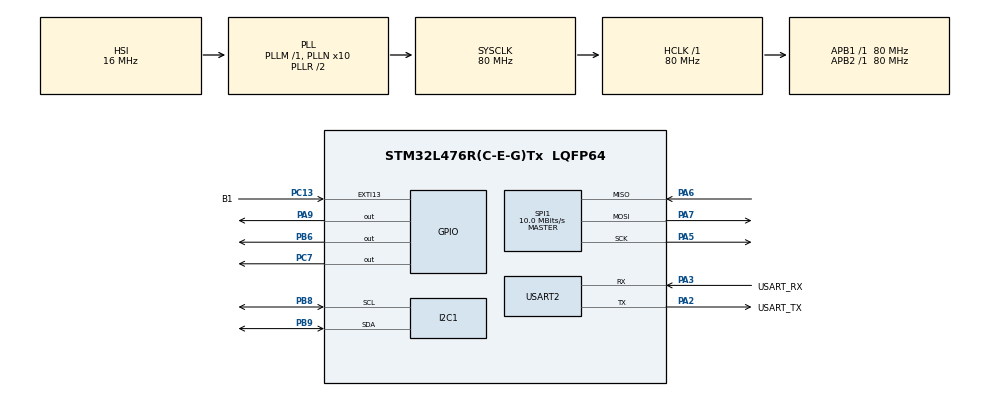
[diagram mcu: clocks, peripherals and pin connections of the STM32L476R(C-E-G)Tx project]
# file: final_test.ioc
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I2C1.Timing=0x10D19CE4
Mcu.Family=STM32L4
Mcu.Name=STM32L476R(C-E-G)Tx
Mcu.Package=LQFP64
NVIC.EXTI15_10_IRQn=true\:1\:0\:true\:false\:true\:true\:true\:true
NVIC.PriorityGroup=NVIC_PRIORITYGROUP_4
NVIC.USART2_IRQn=true\:2\:0\:true\:false\:true\:true\:true\:true
PA13\ (JTMS-SWDIO).GPIO_Label=TMS
PA13\ (JTMS-SWDIO).Mode=Serial_Wire
PA13\ (JTMS-SWDIO).Signal=SYS_JTMS-SWDIO
PA14\ (JTCK-SWCLK).GPIO_Label=TCK
PA14\ (JTCK-SWCLK).Mode=Serial_Wire
PA14\ (JTCK-SWCLK).Signal=SYS_JTCK-SWCLK
PA2.GPIO_Label=USART_TX
PA2.GPIO_Mode=GPIO_MODE_AF_PP
PA2.GPIO_PuPd=GPIO_NOPULL
PA2.GPIO_Speed=GPIO_SPEED_FREQ_VERY_HIGH
PA2.Mode=Asynchronous
PA2.Signal=USART2_TX
PA3.GPIO_Label=USART_RX
PA3.GPIO_Mode=GPIO_MODE_AF_PP
PA3.GPIO_PuPd=GPIO_NOPULL
PA3.GPIO_Speed=GPIO_SPEED_FREQ_VERY_HIGH
PA3.Mode=Asynchronous
PA3.Signal=USART2_RX
PA5.Mode=Full_Duplex_Master
PA5.Signal=SPI1_SCK
PA6.Mode=Full_Duplex_Master
PA6.Signal=SPI1_MISO
PA7.Mode=Full_Duplex_Master
PA7.Signal=SPI1_MOSI
PA9.Signal=GPIO_Output
PB3\ (JTDO-TRACESWO).GPIO_Label=SWO
PB3\ (JTDO-TRACESWO).Signal=SYS_JTDO-SWO
PB6.Signal=GPIO_Output
PB8.Mode=I2C
PB8.Signal=I2C1_SCL
PB9.Mode=I2C
PB9.Signal=I2C1_SDA
PC13.GPIO_Label=B1
PC13.GPIO_ModeDefaultEXTI=GPIO_MODE_IT_FALLING
PC13.GPIO_PuPd=GPIO_PULLUP
PC13.Signal=GPXTI13
PC14-OSC32_IN\ (PC14).Mode=LSE-External-Oscillator
PC14-OSC32_IN\ (PC14).Signal=RCC_OSC32_IN
PC15-OSC32_OUT\ (PC15).Mode=LSE-External-Oscillator
PC15-OSC32_OUT\ (PC15).Signal=RCC_OSC32_OUT
PC7.Signal=GPIO_Output
PH0-OSC_IN\ (PH0).Signal=RCC_OSC_IN
PH1-OSC_OUT\ (PH1).Signal=RCC_OSC_OUT
ProjectManager.HeapSize=0x200
ProjectManager.StackSize=0x400
ProjectManager.TargetToolchain=STM32CubeIDE
RCC.ADCFreq_Value=64000000
RCC.AHBFreq_Value=80000000
RCC.APB1Freq_Value=80000000
RCC.APB1TimFreq_Value=80000000
RCC.APB2Freq_Value=80000000
RCC.APB2TimFreq_Value=80000000
RCC.CortexFreq_Value=80000000
RCC.HCLKFreq_Value=80000000
RCC.HSE_VALUE=8000000
RCC.HSI_VALUE=16000000
RCC.MSI_VALUE=4000000
RCC.PLLN=10
RCC.PLLSourceVirtual=RCC_PLLSOURCE_HSI
RCC.PREFETCH_ENABLE=1
RCC.SYSCLKFreq_VALUE=80000000
RCC.SYSCLKSource=RCC_SYSCLKSOURCE_PLLCLK
RCC.USBFreq_Value=64000000
RCC.VCOOutputFreq_Value=160000000
SPI1.BaudRatePrescaler=SPI_BAUDRATEPRESCALER_8
SPI1.CalculateBaudRate=10.0 MBits/s
SPI1.DataSize=SPI_DATASIZE_8BIT
SPI1.Direction=SPI_DIRECTION_2LINES
SPI1.Mode=SPI_MODE_MASTER
SPI1.VirtualType=VM_MASTER
USART2.VirtualMode-Asynchronous=VM_ASYNC
board=NUCLEO-L476RG

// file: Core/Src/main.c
/* USER CODE BEGIN Header */
/**
  ******************************************************************************
  * @file           : main.c
  * @brief          : Main program body
  ******************************************************************************
  * @attention
  *
  * Copyright (c) 2024 STMicroelectronics.
  * All rights reserved.
  *
  * This software is licensed under terms that can be found in the LICENSE file
  * in the root directory of this software component.
  * If no LICENSE file comes with this software, it is provided AS-IS.
  *
  ******************************************************************************
  */
/* USER CODE END Header */
#include "main.h"

/* USER CODE BEGIN Includes */
#include "ssd1306.h"
#include "ssd1306_fonts.h"
#include "stdio.h"
#include "stdlib.h"
#include "stdbool.h"
#include "string.h"
#include "symbols.h"
#include <ctype.h>
/* USER CODE END Includes */

/* USER CODE BEGIN PTD */
typedef enum {
    STATE_MENU,
    STATE_GAME,
    STATE_AUTHORS,
    STATE_DESC,
    STATE_HIGHSCORES
} SystemState;
/* USER CODE END PTD */

/* USER CODE BEGIN PD */
#define FLASH_ACCOUNTS_PAGE      511
#define FLASH_ACCOUNTS_ADDR      0x080FF800U
#define FLASH_ACCOUNTS_NBPAGES      1
#define CMD_BUF_SIZE            40
#define MAX_ACCOUNTS             3
#define ACCOUNT_SIZE             sizeof(account_t)
/* USER CODE END PD */

I2C_HandleTypeDef hi2c1;

SPI_HandleTypeDef hspi1;

UART_HandleTypeDef huart2;

/* USER CODE BEGIN PV */
typedef struct {
    int32_t credit;           // 4 bytes
    char    username[16];     // 16 bytes
    uint32_t crc;             // optional safety
} account_t;

account_t accounts[MAX_ACCOUNTS];
int active_user = -1;

//BAZA DANYCH (Wspólna)
volatile int credits = 100;
char user_name[16] = "";

//ZMIENNE GRY
int symbols_credits[7] = {1000,500,20,300,250,20,100};
int reel_state[3] = {0, 0, 0};
volatile uint8_t game_active = 0;
uint32_t start_time = 0;
uint32_t duration = 0;
volatile uint8_t no_money = 0;
int speed = 4;

//ZMIENNE SYSTEMOWE
volatile SystemState currentState = STATE_MENU;
volatile int menu_position = 0;

//ZMIENNE TERMINALA
uint8_t rx_data[1];
char cmd_buffer[CMD_BUF_SIZE + 1];
volatile uint8_t cmd_index = 0;
/* USER CODE END PV */

void SystemClock_Config(void);
static void MX_GPIO_Init(void);
static void MX_USART2_UART_Init(void);
static void MX_I2C1_Init(void);
static void MX_SPI1_Init(void);
/* USER CODE BEGIN PFP */
bool CheckCommand(const char* cmd);
void DisplayTerminalPrompt(void);
/* USER CODE END PFP */

/* USER CODE BEGIN 0 */
int __io_putchar(int ch) {
    HAL_UART_Transmit(&huart2, (uint8_t *)&ch, 1, HAL_MAX_DELAY);
    return ch;
}

typedef struct {
    int current_symbol; // Indeks symbolu, który jest teraz na środku (0-6)
    int next_symbol;    // Indeks symbolu, który wjeżdża z góry (0-6)
    int pixel_offset;   // Przesunięcie w pikselach (od 0 do 32)
    int x_pos;          // Pozycja X tego bębna na ekranie (8, 48 lub 88)
} reels;

// Inicjalizacja trzech bębnów
reels reel[3] = {
    {0, 1, 0, 8},  // Bęben 1
    {0, 1, 0, 48}, // Bęben 2
    {0, 1, 0, 88}  // Bęben 3
};

//Obsługa pamięci flash
bool Flash_SaveAccounts(void)
{
    HAL_FLASH_Unlock();

    FLASH_EraseInitTypeDef erase = {
        .TypeErase = FLASH_TYPEERASE_PAGES,
        .Banks     = FLASH_BANK_2,
        .Page      = FLASH_ACCOUNTS_PAGE,
        .NbPages   = 1
    };

    uint32_t error;
    if (HAL_FLASHEx_Erase(&erase, &error) != HAL_OK)
        return false;

    uint64_t *src = (uint64_t *)accounts;
    uint32_t addr = FLASH_ACCOUNTS_ADDR;

    for (int i = 0; i < (sizeof(accounts) / 8); i++)
    {
        if (HAL_FLASH_Program(FLASH_TYPEPROGRAM_DOUBLEWORD, addr, src[i]) != HAL_OK)
            return false;

        addr += 8;
    }

    HAL_FLASH_Lock();
    return true;
}

bool Account_Create(const char *name)
{
    for (int i = 0; i < MAX_ACCOUNTS; i++)
    {
        if (accounts[i].username[0] == '\0')
        {
            strncpy(accounts[i].username, name, 15);
            accounts[i].credit = 100;
            return Flash_SaveAccounts();
        }
    }
    return false; // full
}

int Account_Login(const char *name)
{
    for (int i = 0; i < MAX_ACCOUNTS; i++)
    {
        if (strcmp(accounts[i].username, name) == 0)
            return i;
    }
    return -1;
}

static void SaveActiveUser(void)
{
    if (active_user >= 0)
    {
        accounts[active_user].credit = credits;
        Flash_SaveAccounts();
    }
}

static bool IsLoggedIn(void)
{
    if (active_user < 0)
    {
        printf("Not logged in. Use: login <name>\r\n");
        return false;
    }
    return true;
}

void Flash_LoadAccounts(void)
{
    const account_t *flash = (const account_t *)FLASH_ACCOUNTS_ADDR;
    for (int i = 0; i < MAX_ACCOUNTS; i++)
    {
    	if ((uint32_t)flash[i].credit == 0xFFFFFFFF)
    	{
    	    accounts[i].credit = 0;
    	    accounts[i].username[0] = '\0';
    	}
    	else
    	{
    	    accounts[i] = flash[i];
    	}
    }
}

void DisplayTerminalPrompt(void)
{
    printf("𝓬𝓪𝓼𝓲𝓷𝓸@𝓒𝓪𝓼𝓲𝓷𝓸𝓞𝓢:~$ ");
    fflush(stdout);
}

//Parser komend
bool CheckCommand(const char* cmd)
{
    /* ---------------- HELP ---------------- */
    if(strcmp(cmd, "help") == 0)
    {
        printf(
            "Commands:\r\n"
            " help\r\n"
            " users               - list accounts\r\n"
            " create <name>       - create account\r\n"
            " login <name>        - login\r\n"
            " logout              - logout\r\n"
            " whoami              - show user\r\n"
            " balance             - show credits\r\n"
            " deposit <num>       - add credits\r\n"
            " withdraw <num>      - remove credits\r\n"
        );
        return true;
    }
    /* ---------------- USERS LIST ---------------- */
    if(strcmp(cmd, "users") == 0)
    {
        for(uint32_t i = 0; i < MAX_ACCOUNTS; i++)
        {
            if(accounts[i].username[0])
                printf("%ld. %s (%ld)\r\n", i+1, accounts[i].username, accounts[i].credit);
        }
        return true;
    }
    /* ---------------- CREATE ---------------- */
    if(strncmp(cmd, "create ", 7) == 0)
    {
        const char *name = cmd + 7;
        if(strlen(name) == 0 || strlen(name) >= 16)
        {
            printf("Invalid username\r\n");
            return true;
        }
        if(Account_Create(name))
            printf("Account created: %s\r\n", name);
        else
            printf("Account list full\r\n");

        return true;
    }
    /* ---------------- LOGIN ---------------- */
    if(strncmp(cmd, "login ", 6) == 0)
    {
        const char *name = cmd + 6;
        int idx = Account_Login(name);

        if(idx < 0)
        {
            printf("User not found\r\n");
            return true;
        }

        active_user = idx;
        credits = accounts[idx].credit;
        strncpy(user_name, accounts[idx].username, 16);

        printf("Logged in as %s\r\n", user_name);
        return true;
    }

    /* ---------------- LOGOUT ---------------- */
    if(strcmp(cmd, "logout") == 0)
    {
        if(IsLoggedIn())
        {
            SaveActiveUser();
            printf("Logged out: %s\r\n", user_name);
            active_user = -1;
            credits = 0;
            strcpy(user_name, "guest");
        }
        return true;
    }

    /* ---------------- WHOAMI ---------------- */
    if(strcmp(cmd, "whoami") == 0)
    {
        if(active_user >= 0)
            printf("%s\r\n", user_name);
        else
            printf("guest\r\n");
        return true;
    }

    /* ---------------- BALANCE ---------------- */
    if(strcmp(cmd, "balance") == 0)
    {
        if(IsLoggedIn())
            printf("Balance: %d\r\n", credits);
        return true;
    }

    /* ---------------- DEPOSIT ---------------- */
    if(strncmp(cmd, "deposit ", 8) == 0)
    {
        if(!IsLoggedIn()) return true;

        int amount = atoi(cmd + 8);
        if(amount <= 0)
        {
            printf("Invalid amount\r\n");
            return true;
        }
        credits += amount;
        printf("Deposited %d\r\n", amount);
        SaveActiveUser();
        return true;
    }

    /* ---------------- WITHDRAW ---------------- */
    if(strncmp(cmd, "withdraw ", 9) == 0)
    {
        if(!IsLoggedIn()) return true;

        int amount = atoi(cmd + 9);
        if(amount <= 0 || amount > credits)
        {
            printf("Invalid amount\r\n");
            return true;
        }

        credits -= amount;
        printf("Withdrawn %d\r\n", amount);
        SaveActiveUser();
        return true;
    }

    /* ---------------- UNKNOWN ---------------- */
    printf("Command not found: '%s'\r\n", cmd);
    return false;
}

// Funkcja do zaznaczenia wybranej opcji w menu
void DrawMenuLine(int y, int index, char* text){
	if(menu_position == index){
		ssd1306_FillRectangle(0, 1, 128, 10, White);
		ssd1306_SetCursor(20, 2);
		ssd1306_WriteString("LITTLE LAS VEGAS", Font_6x8, Black);

		ssd1306_SetCursor(10, y);

		ssd1306_WriteString(text, Font_6x8, Black);
	}else{
		ssd1306_SetCursor(10, y);

		ssd1306_WriteString(text, Font_6x8, White);
	}
}

//Obsługa przerwań
void HAL_GPIO_EXTI_Callback(uint16_t GPIO_Pin){
    if(GPIO_Pin == B1_Pin)
    {
        static uint32_t last_click = 0;

        static uint8_t rng_initialized = 0;

        if(HAL_GetTick() - last_click < 500) return;
        last_click = HAL_GetTick();

        if(rng_initialized == 0) {
            srand(HAL_GetTick());
            rng_initialized = 1;
        }

        if(currentState == STATE_GAME && game_active == 0){
            if(credits > 0){
                credits--;

                if(active_user >= 0) {
                	SaveActiveUser();
                }

                no_money = 0;
                game_active = 1;

                for(int i=0; i<3; i++){
                    reel_state[i] = 1;
                }

                start_time = HAL_GetTick();

                duration = (rand() % 4000) + 3000;
            } else {
                no_money = 1;
            }
        }
    }
}

static uint8_t esc_ignore = 0;

//PRZERWANIE OD UART (Sterowanie)
void HAL_UART_RxCpltCallback(UART_HandleTypeDef *huart)
{
    if (huart->Instance == USART2)
    {
        char c = (char)rx_data[0];

        if (esc_ignore) {
            if (c >= 'A' && c <= 'Z') esc_ignore = 0;
            HAL_UART_Receive_IT(&huart2, rx_data, 1);
            return;
        }
        if (c == 0x1B) {
            esc_ignore = 1;
            HAL_UART_Receive_IT(&huart2, rx_data, 1);
            return;
        }

        uint8_t is_nav_command = 0;

        // 1. STEROWANIE MENU
        if (cmd_index == 0) {
            if (c == 'q') {
                currentState = STATE_MENU;
                game_active = 0;
                is_nav_command = 1;
            }
            else if (currentState == STATE_MENU) {
                if (c == 'a') {
                    menu_position--;
                    if(menu_position < 0) menu_position = 3;
                    is_nav_command = 1;
                }
                else if (c == 'd') {
                    menu_position++;
                    if(menu_position > 3) menu_position = 0;
                    is_nav_command = 1;
                }
                else if (c == 'e' || c == '\r') {
                    switch(menu_position) {
                        case 0: currentState = STATE_GAME; break;
                        case 1: currentState = STATE_AUTHORS; break;
                        case 2: currentState = STATE_DESC; break;
                        case 3: currentState = STATE_HIGHSCORES; break;
                    }
                    is_nav_command = 1;
                }
            }
        }

        // 2. Terminal
        if (is_nav_command == 0)
        {
            // ENTER
            if (c == '\r' || c == '\n') {
                HAL_UART_Transmit(&huart2, (uint8_t*)"\r\n", 2, 10);

                cmd_buffer[cmd_index] = '\0';
                if (cmd_index > 0) {
                    CheckCommand(cmd_buffer);
                    DisplayTerminalPrompt();
                } else {
                    DisplayTerminalPrompt();
                }
                cmd_index = 0;
            }
            else if (c == 0x08 || c == 127) {
                if (cmd_index > 0) {
                    cmd_index--;
                    uint8_t erase_seq[] = {0x08, ' ', 0x08};
                    HAL_UART_Transmit(&huart2, erase_seq, 3, 10);
                }
            }
            else {
                if (cmd_index < CMD_BUF_SIZE) {
                    cmd_buffer[cmd_index++] = c;
                    HAL_UART_Transmit(&huart2, (uint8_t*)&c, 1, 10);
                }
            }
        }
        HAL_UART_Receive_IT(&huart2, rx_data, 1);
    }
}

// Funkcja do odwracania kolorów (Inwersja)
void SetDisplayInverse(uint8_t inverse) {
    if (inverse) {
        ssd1306_WriteCommand(0xA7);
    } else {
        ssd1306_WriteCommand(0xA6);
    }
}
/* USER CODE END 0 */

int main(void)
{

  /* MCU Configuration--------------------------------------------------------*/

  /* Reset of all peripherals, Initializes the Flash interface and the Systick. */
  HAL_Init();

  /* Configure the system clock */
  SystemClock_Config();

  /* Initialize all configured peripherals */
  MX_GPIO_Init();
  MX_USART2_UART_Init();
  MX_I2C1_Init();
  MX_SPI1_Init();
  /* USER CODE BEGIN 2 */
  setvbuf(stdout, NULL, _IONBF, 0);

    char buffor[40];

    ssd1306_Init();
    ssd1306_Fill(Black);
    ssd1306_UpdateScreen();

    // Wczytanie stanu konta
    Flash_LoadAccounts();
    credits = 0;
    strcpy(user_name, "guest");

    HAL_UART_Transmit(&huart2, (uint8_t*)"\r\nSYSTEM START\r\n", 14, 100);

    // POWITANIE W TERMINALU
    printf("\033[2J\033[H"); // Clear screen
    printf("                     CasinoOS Terminal v1.0.7 \r\n");
    printf("            In luck we trust, in probability we pray \r\n");
    printf("------------------------------------------------------- \r\n");
    printf("System status  : ONLINE \r\n");
    printf("RNG engine     : SEEDED \r\n");
    printf("Credit balance : %06d \r\n", credits);
    printf("User access    : %s \r\n", user_name);
    printf("------------------------------------------------------- \r\n");
    DisplayTerminalPrompt();

    HAL_UART_Receive_IT(&huart2, rx_data, 1);

  /* USER CODE END 2 */

  /* Infinite loop */
  while (1)
  {
	  ssd1306_Fill(Black);

	  	  	  	        switch (currentState)
	  	  	  	        {

	  	  	  	            case STATE_MENU:
	  	  	  	                DrawMenuLine(16,0,"1. Game");
	  	  	  	                DrawMenuLine(27,1,"2. Authors");
	  	  	  	                DrawMenuLine(38, 2,"3. About game");
	  	  	  	                DrawMenuLine(49,3,"4. Accounts");

	  	  	  	                ssd1306_DrawRectangle(0, 13, 127, 63, White);
	  	  	  	                break;

	  	  	  	            case STATE_GAME:
	  	  	  	                ssd1306_SetCursor(0, 0);

	  	  	  	                if(credits > 99999){
	  	  	  	                	sprintf(buffor, "Credits:%dk", credits / 1000);
	  	  	  	          	  	} else {
	  	  	  	          	  		sprintf(buffor, "Credits:%d", credits);
	  	  	  	          	  	}

	  	  	  	                ssd1306_WriteString(buffor, Font_6x8, White);

	  	  	  	                ssd1306_SetCursor(80, 0);
	  	  	  	                ssd1306_WriteString("[q]Exit", Font_6x8, White);

	  	  	  	                for(int x=0; x < 128; x++){ ssd1306_DrawPixel(x, 15, White); }
	  	  	  	                for(int x=0; x < 128; x++){ ssd1306_DrawPixel(x, 48, White); }
	  	  	  	                ssd1306_SetCursor(0, 27);   ssd1306_WriteString(">", Font_7x10, White);
	  	  	  	                ssd1306_SetCursor(120, 27); ssd1306_WriteString("<", Font_7x10, White);

	  	  	  	                for(int i=0; i < 3; i++){
	  	  	  	                    if(reel_state[i] == 1){
	  	  	  	                        uint32_t extra_delay = i * 1000;
	  	  	  	                        if(HAL_GetTick() - start_time > (duration + extra_delay)){
	  	  	  	                            if(reel[i].pixel_offset == 0){
	  	  	  	                                reel_state[i] = 0;
	  	  	  	                            }
	  	  	  	                        }
	  	  	  	                        if(reel_state[i] == 1) {
	  	  	  	                            reel[i].pixel_offset += speed;
	  	  	  	                            if(reel[i].pixel_offset >= 32){
	  	  	  	                                reel[i].pixel_offset = 0;
	  	  	  	                                reel[i].current_symbol = reel[i].next_symbol;
	  	  	  	                                reel[i].next_symbol = rand() % 7;
	  	  	  	                            }
	  	  	  	                        }
	  	  	  	                    }
	  	  	  	                    int current_symbol_y = reel[i].pixel_offset + 16;
	  	  	  	                    int next_symbol_y = current_symbol_y - 32;
	  	  	  	                    ssd1306_DrawBitmap(reel[i].x_pos, current_symbol_y, epd_bitmap_allArray[reel[i].current_symbol], 32, 32, White);
	  	  	  	                    ssd1306_DrawBitmap(reel[i].x_pos, next_symbol_y, epd_bitmap_allArray[reel[i].next_symbol], 32, 32, White);
	  	  	  	                }

	  	  	  	                if(game_active == 1 && reel_state[0] == 0 && reel_state[1] == 0 && reel_state[2] == 0 && no_money == 0){
	  	  	  	                    int s0 = reel[0].current_symbol;
	  	  	  	                    int s1 = reel[1].current_symbol;
	  	  	  	                    int s2 = reel[2].current_symbol;
	  	  	  	                    int win = 0;

	  	  	  	                    if(s0 == s1 && s1 == s2) win = symbols_credits[s0];
	  	  	  	                    else if(s0 == s1) win = (symbols_credits[s0])/3;
	  	  	  	                    else if(s1 == s2) win = (symbols_credits[s1])/3;
	  	  	  	                    else if(s0 == s2) win = (symbols_credits[s0])/3;

	  	  	  	                    if(win > 0){
	  	  	  	                    	credits += win;
	  	  	  	                    	if(active_user >= 0) {
	  	  	  	                    		SaveActiveUser();
	  	  	  	                  	  	}

	  	  	  	                        for(int k=0; k<3; k++){
	  	  	  	                            SetDisplayInverse(1);
	  	  	  	                            HAL_Delay(100);
	  	  	  	                            SetDisplayInverse(0);
	  	  	  	                            HAL_Delay(100);
	  	  	  	                        }

	  	  	  	                        ssd1306_FillRectangle(14, 15, 100, 40, White);

	  	  	  	                        ssd1306_DrawRectangle(16, 17, 96, 36, Black);

	  	  	  	                        ssd1306_SetCursor(38, 20);
	  	  	  	                        ssd1306_WriteString("BIG WIN!", Font_6x8, Black);

	  	  	  	                        sprintf(buffor, "%d", win);

	  	  	  	                        int text_width = (win > 999) ? 44 : (win > 99) ? 33 : 22;
	  	  	  	                        int x_pos = 64 - (text_width / 2);

	  	  	  	                        ssd1306_SetCursor(x_pos, 32);
	  	  	  	                        ssd1306_WriteString(buffor, Font_11x18, Black);

	  	  	  	                        ssd1306_UpdateScreen();
	  	  	  	                        HAL_Delay(2500);
	  	  	  	                    } else {
	  	  	  	                        HAL_Delay(500);
	  	  	  	                    }
	  	  	  	                    game_active = 0;
	  	  	  	                }
	  	  	  	                else if(no_money == 1){
	  	  	  	                    ssd1306_FillRectangle(10, 18, 108, 32, White);
	  	  	  	                    ssd1306_SetCursor(25, 20);
	  	  	  	                    ssd1306_WriteString("OUT OF MONEY!", Font_7x10, Black);
	  	  	  	                    ssd1306_SetCursor(20, 35);
	  	  	  	                    ssd1306_WriteString("Deposit money :)", Font_6x8, Black);
	  	  	  	                    ssd1306_UpdateScreen();
	  	  	  	                    HAL_Delay(2500);
	  	  	  	                    no_money = 0;
	  	  	  	                }
	  	  	  	                break;

	  	  	  	            case STATE_AUTHORS:
	  	  	  	                ssd1306_SetCursor(0, 0); ssd1306_WriteString("Authors:", Font_7x10, White);
	  	  	  	                ssd1306_SetCursor(0, 20); ssd1306_WriteString("- Jakub Matusiewicz", Font_6x8, White);
	  	  	  	                ssd1306_SetCursor(0, 30); ssd1306_WriteString("- Mateusz Treda", Font_6x8, White);
	  	  	  	                ssd1306_SetCursor(2, 55);
	  	  	  	          	  	ssd1306_WriteString("[q] Back to menu", Font_6x8, White);
	  	  	  	                break;

	  	  	  	            case STATE_DESC:
	  	  	  	      				ssd1306_FillRectangle(0, 0, 128, 12, White);
	  	  	  	      				ssd1306_SetCursor(35, 2);
	  	  	  	      				ssd1306_WriteString("GAME RULES:", Font_6x8, Black);

	  	  	  	      				ssd1306_SetCursor(2, 16);
	  	  	  	      				ssd1306_WriteString("Press BLUE to SPIN", Font_6x8, White);

	  	  	  	      				ssd1306_SetCursor(2, 30);
	  	  	  	      				ssd1306_WriteString("3 symbols = MAX WIN", Font_6x8, White);

	  	  	  	      				ssd1306_SetCursor(2, 42);
	  	  	  	      				ssd1306_WriteString("2 symbols = 33% WIN", Font_6x8, White);

	  	  	  	      				ssd1306_FillRectangle(80, 54, 128, 64, Black);
	  	  	  	      				ssd1306_SetCursor(2, 55);
	  	  	  	      				ssd1306_WriteString("[q] Back to menu", Font_6x8, White);
	  	  	  	      				break;

	  	  	  	            case STATE_HIGHSCORES:
	  	  	  	      	  	  	  	ssd1306_FillRectangle(0, 0, 128, 12, White);
	  	  	  	      	  	  	  	ssd1306_SetCursor(40, 2);
	  	  	  	      	  	  	  	ssd1306_WriteString("ACCOUNTS", Font_6x8, Black);

	  	  	  	      	  	  	  	int y_pos = 20;

	  	  	  	      	  	  	  	for(int i = 0; i < MAX_ACCOUNTS; i++) {
	  	  	  	      	  	  	  	    if(accounts[i].username[0] != '\0') {
	  	  	  	      	  	  	  	       sprintf(buffor, "%d. %s - %ld", i+1, accounts[i].username, accounts[i].credit);

	  	  	  	      	  	  	  	       ssd1306_SetCursor(0, y_pos);
	  	  	  	      	  	  	  	       ssd1306_WriteString(buffor, Font_6x8, White);

	  	  	  	      	  	  	  	       y_pos += 10;
	  	  	  	      	  	  	  	       }
	  	  	  	      	  	  	  	    else {
	  	  	  	      	  	  	  	        sprintf(buffor, "%d. [Empty]", i+1);
	  	  	  	      	  	  	  	        ssd1306_SetCursor(0, y_pos);
	  	  	  	      	  	  	  	        ssd1306_WriteString(buffor, Font_6x8, White);
	  	  	  	      	  	  	  	        y_pos += 10;
	  	  	  	      	  	  	  	       }
	  	  	  	      	  	  	  	 }
	  	  	  	      	  	  	  	 ssd1306_FillRectangle(80, 54, 128, 64, Black);
	  	  	  	      	  	  	  	 ssd1306_SetCursor(2, 55);
	  	  	  	      	  		  	 ssd1306_WriteString("[q] Back to menu", Font_6x8, White);
	  	  	  	      	  	 break;
	  	  	  	        }

	  	  	  	        ssd1306_UpdateScreen();
  }
}

void SystemClock_Config(void)
{
  RCC_OscInitTypeDef RCC_OscInitStruct = {0};
  RCC_ClkInitTypeDef RCC_ClkInitStruct = {0};

  /** Configure the main internal regulator output voltage
  */
  if (HAL_PWREx_ControlVoltageScaling(PWR_REGULATOR_VOLTAGE_SCALE1) != HAL_OK)
  {
    Error_Handler();
  }

  /** Initializes the RCC Oscillators according to the specified parameters
  * in the RCC_OscInitTypeDef structure.
  */
  RCC_OscInitStruct.OscillatorType = RCC_OSCILLATORTYPE_HSI;
  RCC_OscInitStruct.HSIState = RCC_HSI_ON;
  RCC_OscInitStruct.HSICalibrationValue = RCC_HSICALIBRATION_DEFAULT;
  RCC_OscInitStruct.PLL.PLLState = RCC_PLL_ON;
  RCC_OscInitStruct.PLL.PLLSource = RCC_PLLSOURCE_HSI;
  RCC_OscInitStruct.PLL.PLLM = 1;
  RCC_OscInitStruct.PLL.PLLN = 10;
  RCC_OscInitStruct.PLL.PLLP = RCC_PLLP_DIV7;
  RCC_OscInitStruct.PLL.PLLQ = RCC_PLLQ_DIV2;
  RCC_OscInitStruct.PLL.PLLR = RCC_PLLR_DIV2;
  if (HAL_RCC_OscConfig(&RCC_OscInitStruct) != HAL_OK)
  {
    Error_Handler();
  }

  /** Initializes the CPU, AHB and APB buses clocks
  */
  RCC_ClkInitStruct.ClockType = RCC_CLOCKTYPE_HCLK|RCC_CLOCKTYPE_SYSCLK
                              |RCC_CLOCKTYPE_PCLK1|RCC_CLOCKTYPE_PCLK2;
  RCC_ClkInitStruct.SYSCLKSource = RCC_SYSCLKSOURCE_PLLCLK;
  RCC_ClkInitStruct.AHBCLKDivider = RCC_SYSCLK_DIV1;
  RCC_ClkInitStruct.APB1CLKDivider = RCC_HCLK_DIV1;
  RCC_ClkInitStruct.APB2CLKDivider = RCC_HCLK_DIV1;

  if (HAL_RCC_ClockConfig(&RCC_ClkInitStruct, FLASH_LATENCY_4) != HAL_OK)
  {
    Error_Handler();
  }
}

static void MX_I2C1_Init(void)
{

  /* USER CODE BEGIN I2C1_Init 0 */
	GPIO_InitTypeDef GPIO_InitStruct;
	  RCC_PeriphCLKInitTypeDef PeriphClkInit = {0};
	  /** Initializes the peripherals clock  */
	  PeriphClkInit.PeriphClockSelection = RCC_PERIPHCLK_I2C1;
	  PeriphClkInit.Usart2ClockSelection = RCC_I2C1CLKSOURCE_PCLK1;
	  HAL_RCCEx_PeriphCLKConfig(&PeriphClkInit);

	  /* Enable Peripheral clock */
	  __HAL_RCC_I2C1_CLK_ENABLE();

		__HAL_RCC_GPIOB_CLK_ENABLE();
		/**USART2 GPIO Configuration
		PA2     ------> USART2_TX
		PA3     ------> USART2_RX
		*/
		GPIO_InitStruct.Pin = GPIO_PIN_8 | GPIO_PIN_9;
		GPIO_InitStruct.Mode = GPIO_MODE_AF_PP;
		GPIO_InitStruct.Pull = GPIO_PULLUP;
		GPIO_InitStruct.Speed = GPIO_SPEED_FREQ_VERY_HIGH;
		GPIO_InitStruct.Alternate = GPIO_AF4_I2C1;
		HAL_GPIO_Init(GPIOB, &GPIO_InitStruct);

  /* USER CODE END I2C1_Init 0 */

  hi2c1.Instance = I2C1;
  hi2c1.Init.Timing = 0x10D19CE4;
  hi2c1.Init.OwnAddress1 = 0;
  hi2c1.Init.AddressingMode = I2C_ADDRESSINGMODE_7BIT;
  hi2c1.Init.DualAddressMode = I2C_DUALADDRESS_DISABLE;
  hi2c1.Init.OwnAddress2 = 0;
  hi2c1.Init.OwnAddress2Masks = I2C_OA2_NOMASK;
  hi2c1.Init.GeneralCallMode = I2C_GENERALCALL_DISABLE;
  hi2c1.Init.NoStretchMode = I2C_NOSTRETCH_DISABLE;
  if (HAL_I2C_Init(&hi2c1) != HAL_OK)
  {
    Error_Handler();
  }

  /** Configure Analogue filter
  */
  if (HAL_I2CEx_ConfigAnalogFilter(&hi2c1, I2C_ANALOGFILTER_ENABLE) != HAL_OK)
  {
    Error_Handler();
  }

  /** Configure Digital filter
  */
  if (HAL_I2CEx_ConfigDigitalFilter(&hi2c1, 0) != HAL_OK)
  {
    Error_Handler();
  }

}

static void MX_SPI1_Init(void)
{

  /* SPI1 parameter configuration*/
  hspi1.Instance = SPI1;
  hspi1.Init.Mode = SPI_MODE_MASTER;
  hspi1.Init.Direction = SPI_DIRECTION_2LINES;
  hspi1.Init.DataSize = SPI_DATASIZE_8BIT;
  hspi1.Init.CLKPolarity = SPI_POLARITY_LOW;
  hspi1.Init.CLKPhase = SPI_PHASE_1EDGE;
  hspi1.Init.NSS = SPI_NSS_SOFT;
  hspi1.Init.BaudRatePrescaler = SPI_BAUDRATEPRESCALER_8;
  hspi1.Init.FirstBit = SPI_FIRSTBIT_MSB;
  hspi1.Init.TIMode = SPI_TIMODE_DISABLE;
  hspi1.Init.CRCCalculation = SPI_CRCCALCULATION_DISABLE;
  hspi1.Init.CRCPolynomial = 7;
  hspi1.Init.CRCLength = SPI_CRC_LENGTH_DATASIZE;
  hspi1.Init.NSSPMode = SPI_NSS_PULSE_ENABLE;
  if (HAL_SPI_Init(&hspi1) != HAL_OK)
  {
    Error_Handler();
  }

}

static void MX_USART2_UART_Init(void)
{

  huart2.Instance = USART2;
  huart2.Init.BaudRate = 115200;
  huart2.Init.WordLength = UART_WORDLENGTH_8B;
  huart2.Init.StopBits = UART_STOPBITS_1;
  huart2.Init.Parity = UART_PARITY_NONE;
  huart2.Init.Mode = UART_MODE_TX_RX;
  huart2.Init.HwFlowCtl = UART_HWCONTROL_NONE;
  huart2.Init.OverSampling = UART_OVERSAMPLING_16;
  huart2.Init.OneBitSampling = UART_ONE_BIT_SAMPLE_DISABLE;
  huart2.AdvancedInit.AdvFeatureInit = UART_ADVFEATURE_NO_INIT;
  if (HAL_UART_Init(&huart2) != HAL_OK)
  {
    Error_Handler();
  }

}

static void MX_GPIO_Init(void)
{
  GPIO_InitTypeDef GPIO_InitStruct = {0};

  /* GPIO Ports Clock Enable */
  __HAL_RCC_GPIOC_CLK_ENABLE();
  __HAL_RCC_GPIOH_CLK_ENABLE();
  __HAL_RCC_GPIOA_CLK_ENABLE();
  __HAL_RCC_GPIOB_CLK_ENABLE();

  /*Configure GPIO pin Output Level */
  HAL_GPIO_WritePin(GPIOC, GPIO_PIN_7, GPIO_PIN_RESET);

  /*Configure GPIO pin Output Level */
  HAL_GPIO_WritePin(GPIOA, GPIO_PIN_9, GPIO_PIN_RESET);

  /*Configure GPIO pin Output Level */
  HAL_GPIO_WritePin(GPIOB, GPIO_PIN_6, GPIO_PIN_RESET);

  /*Configure GPIO pin : B1_Pin */
  GPIO_InitStruct.Pin = B1_Pin;
  GPIO_InitStruct.Mode = GPIO_MODE_IT_FALLING;
  GPIO_InitStruct.Pull = GPIO_PULLUP;
  HAL_GPIO_Init(B1_GPIO_Port, &GPIO_InitStruct);

  /*Configure GPIO pin : PC7 */
  GPIO_InitStruct.Pin = GPIO_PIN_7;
  GPIO_InitStruct.Mode = GPIO_MODE_OUTPUT_PP;
  GPIO_InitStruct.Pull = GPIO_NOPULL;
  GPIO_InitStruct.Speed = GPIO_SPEED_FREQ_LOW;
  HAL_GPIO_Init(GPIOC, &GPIO_InitStruct);

  /*Configure GPIO pin : PA9 */
  GPIO_InitStruct.Pin = GPIO_PIN_9;
  GPIO_InitStruct.Mode = GPIO_MODE_OUTPUT_PP;
  GPIO_InitStruct.Pull = GPIO_NOPULL;
  GPIO_InitStruct.Speed = GPIO_SPEED_FREQ_LOW;
  HAL_GPIO_Init(GPIOA, &GPIO_InitStruct);

  /*Configure GPIO pin : PB6 */
  GPIO_InitStruct.Pin = GPIO_PIN_6;
  GPIO_InitStruct.Mode = GPIO_MODE_OUTPUT_PP;
  GPIO_InitStruct.Pull = GPIO_NOPULL;
  GPIO_InitStruct.Speed = GPIO_SPEED_FREQ_LOW;
  HAL_GPIO_Init(GPIOB, &GPIO_InitStruct);

  /* EXTI interrupt init*/
  HAL_NVIC_SetPriority(EXTI15_10_IRQn, 1, 0);
  HAL_NVIC_EnableIRQ(EXTI15_10_IRQn);

}

void Error_Handler(void)
{
  __disable_irq();
  while (1)
  {
  }
}
